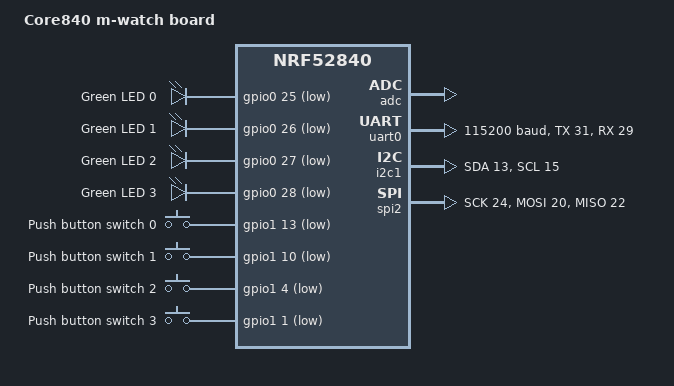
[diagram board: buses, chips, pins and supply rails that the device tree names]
/*
 * Copyright (c) 2017 Linaro Limited
 *
 * SPDX-License-Identifier: Apache-2.0
 */

/dts-v1/;
#include <nordic/nrf52840_qiaa.dtsi>

/ {
	model = "Core840 m-watch board";
	compatible = "nordic,nrf52840-dk-nrf52840";

	chosen {
		zephyr,console = &uart0;
		zephyr,shell-uart = &uart0;
		zephyr,uart-mcumgr = &uart0;
		zephyr,bt-mon-uart = &uart0;
		zephyr,bt-c2h-uart = &uart0;
		zephyr,sram = &sram0;
		zephyr,flash = &flash0;
		zephyr,code-partition = &slot0_partition;
	};

	leds {
		compatible = "gpio-leds";
		led0: led_0 {
			gpios = <&gpio0 25 GPIO_ACTIVE_LOW>;
			label = "Green LED 0";
		};
		led1: led_1 {
			gpios = <&gpio0 26 GPIO_ACTIVE_LOW>;
			label = "Green LED 1";
		};
		led2: led_2 {
			gpios = <&gpio0 27 GPIO_ACTIVE_LOW>;
			label = "Green LED 2";
		};
		led3: led_3 {
			gpios = <&gpio0 28 GPIO_ACTIVE_LOW>;
			label = "Green LED 3";
		};
	};

	buttons {
		compatible = "gpio-keys";
		button0: button_0 {
			gpios = <&gpio1 13 (GPIO_PULL_UP | GPIO_ACTIVE_LOW)>;
			label = "Push button switch 0";
		};
		button1: button_1 {
			gpios = <&gpio1 10 (GPIO_PULL_UP | GPIO_ACTIVE_LOW)>;
			label = "Push button switch 1";
		};
		button2: button_2 {
			gpios = <&gpio1 4 (GPIO_PULL_UP | GPIO_ACTIVE_LOW)>;
			label = "Push button switch 2";
		};
		button3: button_3 {
			gpios = <&gpio1 1 (GPIO_PULL_UP | GPIO_ACTIVE_LOW)>;
			label = "Push button switch 3";
		};
	};

	/* These aliases are provided for compatibility with samples */
	aliases {
		led0 = &led0;
		led1 = &led1;
		led2 = &led2;
		led3 = &led3;
		sw0 = &button0;
		sw1 = &button1;
		sw2 = &button2;
		sw3 = &button3;
		spi2 = &spi2;
	};
};

&adc {
	status = "okay";
};

&gpiote {
	status = "okay";
};

&gpio0 {
	status = "okay";
};

&gpio1 {
	status = "okay";
};

&uart0 {
	compatible = "nordic,nrf-uart";
	status = "okay";
	current-speed = <115200>;
	tx-pin = <31>;
	rx-pin = <29>;
};

&i2c1 {
	compatible = "nordic,nrf-twi";
	status = "okay";
	sda-pin = <13>;
	scl-pin = <15>;
};

&spi2 {
	compatible = "nordic,nrf-spim";
	status = "okay";
	sck-pin = <24>;
	mosi-pin = <20>;
	miso-pin = <22>;
};

&flash0 {
	/*
	 * For more information, see:
	 * https://docs.zephyrproject.org/latest/guides/dts/legacy-macros.html#legacy-flash-partitions
	 */
	partitions {
		compatible = "fixed-partitions";
		#address-cells = <1>;
		#size-cells = <1>;

		boot_partition: partition@0 {
			label = "mcuboot";
			reg = <0x000000000 0x0000C000>;
		};
		slot0_partition: partition@c000 {
			label = "image-0";
			reg = <0x0000C000 0x00067000>;
		};
		slot1_partition: partition@73000 {
			label = "image-1";
			reg = <0x00073000 0x00067000>;
		};
		scratch_partition: partition@da000 {
			label = "image-scratch";
			reg = <0x000da000 0x0001e000>;
		};

		/*
		 * The flash starting at 0x000f8000 and ending at
		 * 0x000fffff is reserved for use by the application.
		 */

		/*
		 * Storage partition will be used by FCB/LittleFS/NVS
		 * if enabled.
		 */
		storage_partition: partition@f8000 {
			label = "storage";
			reg = <0x000f8000 0x00008000>;
		};
	};
};
